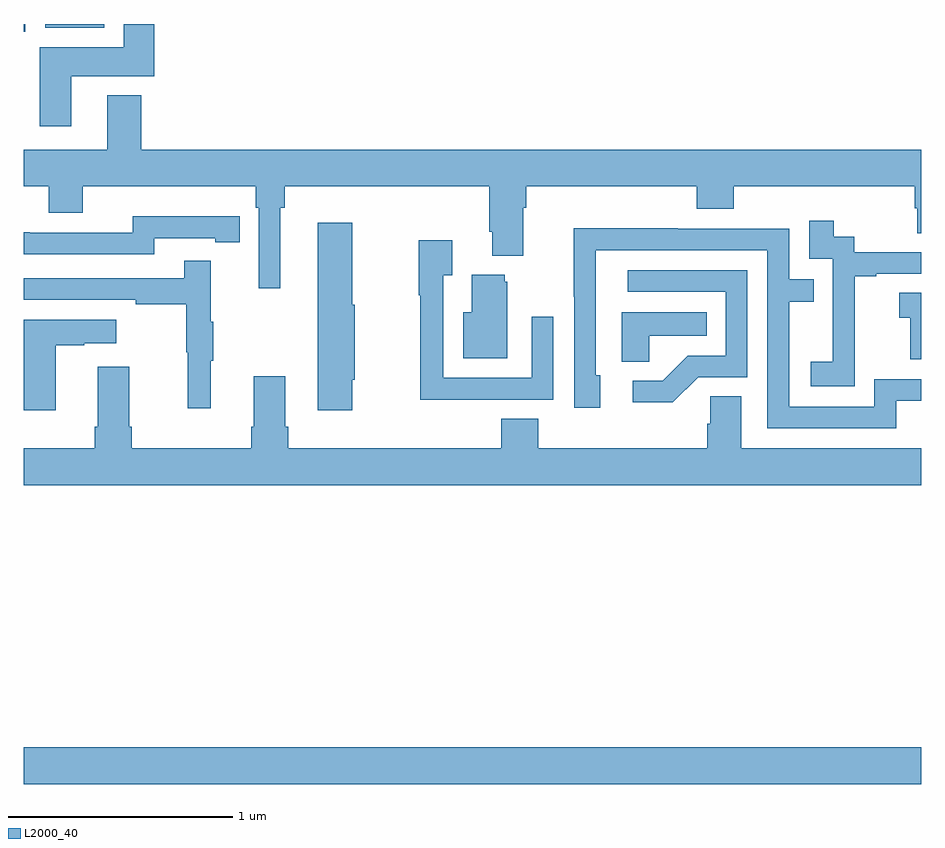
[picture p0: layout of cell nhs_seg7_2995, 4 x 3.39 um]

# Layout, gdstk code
import gdstk
lib = gdstk.Library(unit=1e-6, precision=1e-09)
def R(c, l, rs):  # rectangles x0, y0, x1, y1
    for r in rs: c.add(gdstk.rectangle(r[:2], r[2:], *l))
def P(c, l, *ps):  # polygons
    for p in ps: c.add(gdstk.Polygon(p, *l))
L2000_40 = (2000, 40)

nhs_seg7_2995 = lib.new_cell('nhs_seg7_2995')
R(nhs_seg7_2995, L2000_40, [(303,1004.612,307,1004.776), (303,1007.966,303.007,1008), (303.095,1007.984,303.358,1008)])
P(nhs_seg7_2995, L2000_40, [(303.211,1007.768),(303.581,1007.768),(303.581,1008),(303.446,1008),(303.446,1007.896),(303.071,1007.896),(303.071,1007.544),(303.211,1007.544)],
  [(304.144,1007.18),(304.163,1007.18),(304.163,1007.276),(305.075,1007.276),(305.075,1007.074),(305.087,1007.074),(305.087,1006.967),(305.227,1006.967),(305.227,1007.18),(305.24,1007.18),(305.24,1007.276),(305.999,1007.276),(305.999,1007.177),(306.164,1007.177),(306.164,1007.276),(306.971,1007.276),(306.971,1007.178),(306.983,1007.178),(306.983,1007.068),(307,1007.068),(307,1007.44),(303.524,1007.44),(303.524,1007.683),(303.371,1007.683),(303.371,1007.44),(303,1007.44),(303,1007.276),(303.11,1007.276),(303.11,1007.159),(303.262,1007.159),(303.262,1007.276),(304.034,1007.276),(304.034,1007.18),(304.047,1007.18),(304.047,1006.821),(304.144,1006.821)],
  [(303.582,1007.046),(303.854,1007.046),(303.854,1007.026),(303.962,1007.026),(303.962,1007.142),(303.854,1007.142),(303.854,1007.143),(303.486,1007.143),(303.486,1007.07),(303.026,1007.07),(303.026,1007.072),(303,1007.072),(303,1006.974),(303.582,1006.974)],
  [(306.705,1006.591),(306.704,1006.591),(306.704,1006.875),(306.799,1006.875),(306.799,1006.887),(307,1006.887),(307,1006.983),(306.702,1006.983),(306.702,1007.052),(306.61,1007.052),(306.61,1007.122),(306.501,1007.122),(306.501,1006.953),(306.606,1006.953),(306.606,1006.724),(306.605,1006.724),(306.605,1006.495),(306.507,1006.495),(306.507,1006.385),(306.705,1006.385)],
  [(304.464,1006.413),(304.474,1006.413),(304.474,1006.749),(304.464,1006.749),(304.464,1007.113),(304.31,1007.113),(304.31,1006.278),(304.464,1006.278)],
  [(306.889,1006.32),(307,1006.32),(307,1006.416),(306.792,1006.416),(306.792,1006.293),(306.411,1006.293),(306.411,1006.762),(306.521,1006.762),(306.521,1006.863),(306.411,1006.863),(306.411,1007.088),(305.915,1007.088),(305.915,1007.09),(305.452,1007.09),(305.452,1006.783),(305.454,1006.783),(305.454,1006.29),(305.569,1006.29),(305.569,1006.434),(305.55,1006.434),(305.55,1006.992),(306.315,1006.992),(306.315,1006.197),(306.889,1006.197)],
  [(305.045,1006.326),(305.361,1006.326),(305.361,1006.696),(305.265,1006.696),(305.265,1006.422),(304.869,1006.422),(304.869,1006.879),(304.909,1006.879),(304.909,1007.035),(304.761,1007.035),(304.761,1006.79),(304.768,1006.79),(304.768,1006.325),(305.045,1006.325)],
  [(303.833,1006.499),(303.844,1006.499),(303.844,1006.673),(303.833,1006.673),(303.833,1006.945),(303.715,1006.945),(303.715,1006.866),(303,1006.866),(303,1006.77),(303.499,1006.77),(303.499,1006.75),(303.723,1006.75),(303.723,1006.536),(303.73,1006.536),(303.73,1006.287),(303.833,1006.287)],
  [(306.006,1006.425),(306.225,1006.425),(306.225,1006.902),(305.691,1006.902),(305.691,1006.806),(306.129,1006.806),(306.129,1006.521),(305.96,1006.521),(305.849,1006.41),(305.715,1006.41),(305.715,1006.313),(305.893,1006.313)],
  [(305.155,1006.851),(305.144,1006.851),(305.144,1006.882),(304.997,1006.882),(304.997,1006.714),(304.958,1006.714),(304.958,1006.511),(305.155,1006.511)],
  [(307,1006.801),(306.903,1006.801),(306.903,1006.691),(306.952,1006.691),(306.952,1006.506),(307,1006.506)],
  [(305.787,1006.61),(306.044,1006.61),(306.044,1006.714),(305.666,1006.714),(305.666,1006.495),(305.787,1006.495)],
  [(303.142,1006.567),(303.269,1006.567),(303.269,1006.577),(303.412,1006.577),(303.412,1006.681),(303,1006.681),(303,1006.278),(303.142,1006.278)],
  [(307,1006.108),(306.199,1006.108),(306.199,1006.34),(306.06,1006.34),(306.06,1006.217),(306.047,1006.217),(306.047,1006.108),(305.294,1006.108),(305.294,1006.241),(305.129,1006.241),(305.129,1006.108),(304.178,1006.108),(304.178,1006.204),(304.165,1006.204),(304.165,1006.429),(304.025,1006.429),(304.025,1006.204),(304.013,1006.204),(304.013,1006.108),(303.482,1006.108),(303.482,1006.204),(303.469,1006.204),(303.469,1006.471),(303.329,1006.471),(303.329,1006.204),(303.317,1006.204),(303.317,1006.108),(303,1006.108),(303,1005.944),(307,1005.944)])

lib.write_gds('nhs_seg7_2995.gds')
